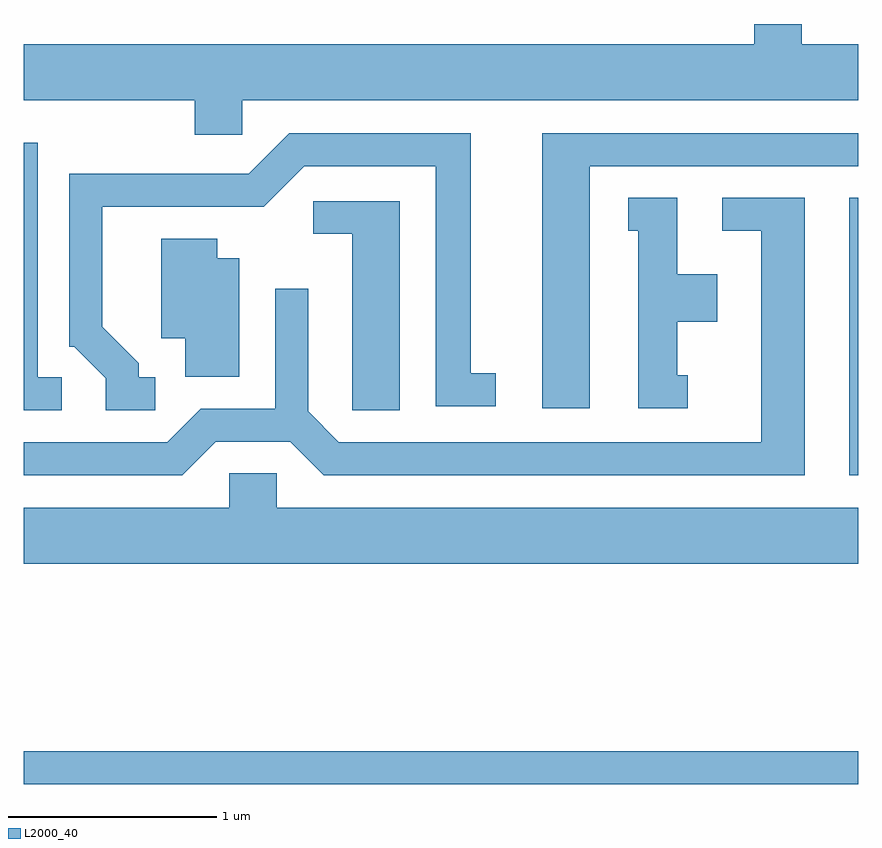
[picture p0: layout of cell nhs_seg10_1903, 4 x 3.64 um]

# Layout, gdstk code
import gdstk
lib = gdstk.Library(unit=1e-6, precision=1e-09)
def R(c, l, rs):  # rectangles x0, y0, x1, y1
    for r in rs: c.add(gdstk.rectangle(r[:2], r[2:], *l))
def P(c, l, *ps):  # polygons
    for p in ps: c.add(gdstk.Polygon(p, *l))
L2000_40 = (2000, 40)

nhs_seg10_1903 = lib.new_cell('nhs_seg10_1903')
R(nhs_seg10_1903, L2000_40, [(241.611,2092.881,245.611,2093.039), (245.566,2094.361,245.611,2095.689)])
P(nhs_seg10_1903, L2000_40, [(242.659,2096.156),(245.611,2096.156),(245.611,2096.424),(245.339,2096.424),(245.339,2096.522),(245.111,2096.522),(245.111,2096.424),(241.611,2096.424),(241.611,2096.156),(242.431,2096.156),(242.431,2095.991),(242.659,2095.991)],
  [(244.324,2095.841),(245.611,2095.841),(245.611,2095.999),(244.096,2095.999),(244.096,2094.681),(244.324,2094.681)],
  [(242.243,2094.829),(242.164,2094.829),(242.164,2094.896),(241.989,2095.072),(241.989,2095.646),(242.762,2095.646),(242.957,2095.841),(243.586,2095.841),(243.586,2094.691),(243.873,2094.691),(243.873,2094.849),(243.754,2094.849),(243.754,2095.999),(242.884,2095.999),(242.689,2095.804),(241.831,2095.804),(241.831,2094.976),(241.854,2094.976),(242.006,2094.824),(242.006,2094.671),(242.243,2094.671)],
  [(241.793,2094.829),(241.679,2094.829),(241.679,2095.954),(241.611,2095.954),(241.611,2094.671),(241.793,2094.671)],
  [(244.793,2094.839),(244.744,2094.839),(244.744,2095.096),(244.934,2095.096),(244.934,2095.324),(244.744,2095.324),(244.744,2095.689),(244.508,2095.689),(244.508,2095.531),(244.556,2095.531),(244.556,2094.681),(244.793,2094.681)],
  [(242.532,2094.521),(242.889,2094.521),(243.049,2094.361),(245.354,2094.361),(245.354,2095.689),(244.958,2095.689),(244.958,2095.531),(245.146,2095.531),(245.146,2094.519),(243.122,2094.519),(242.974,2094.667),(242.974,2095.253),(242.816,2095.253),(242.816,2094.679),(242.459,2094.679),(242.299,2094.519),(241.611,2094.519),(241.611,2094.361),(242.372,2094.361)],
  [(243.414,2095.674),(242.998,2095.674),(242.998,2095.516),(243.186,2095.516),(243.186,2094.671),(243.414,2094.671)],
  [(242.644,2095.399),(242.539,2095.399),(242.539,2095.494),(242.271,2095.494),(242.271,2095.016),(242.386,2095.016),(242.386,2094.831),(242.644,2094.831)],
  [(245.611,2094.204),(242.824,2094.204),(242.824,2094.369),(242.596,2094.369),(242.596,2094.204),(241.611,2094.204),(241.611,2093.936),(245.611,2093.936)])

lib.write_gds('nhs_seg10_1903.gds')
